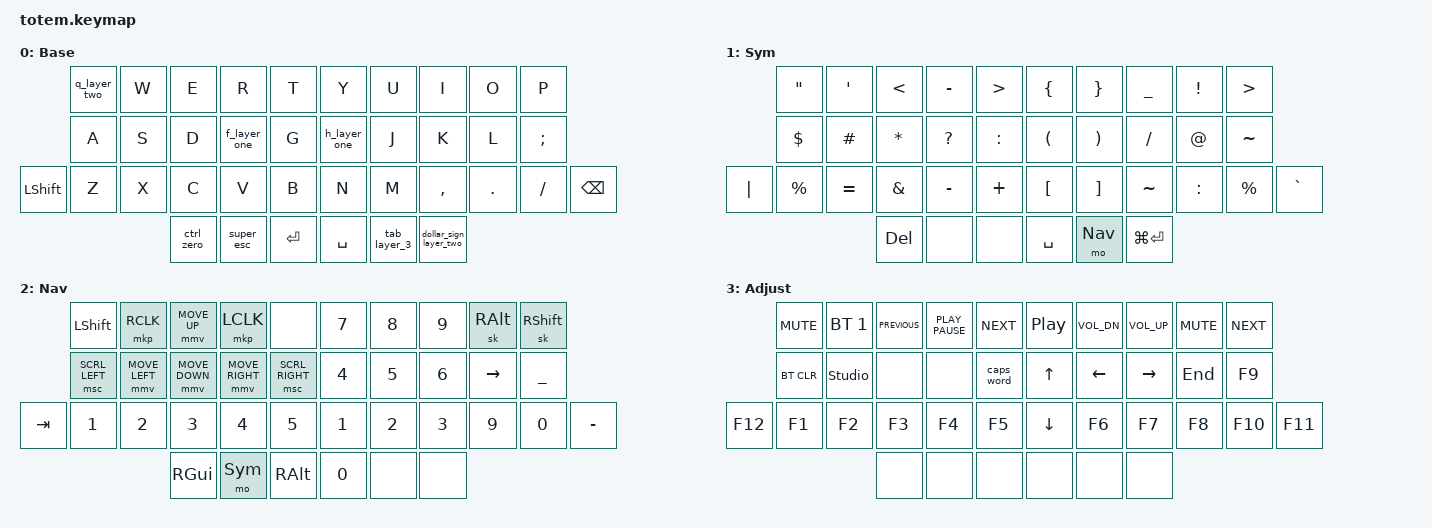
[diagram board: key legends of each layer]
//
//                                                        ▀▀▀▀▀     ▀▀▀▀▀          ▀▀█▀▀
//                                                        ▄▀▀▀▄  ▄  ▄▀▀▀▄  ▄  ▄▀▀▀▄  █  ▄▀▀▀▄
//                                                        █   █  █  █   █  █  █   █  █  █   █
//                                                         ▀▀▀   █   ▀▀▀   █   ▀▀▀   ▀   ▀▀▀
//                                                               █      ▄▄▄█▄▄▄    █   █  
//                                                               ▀      █  █  █     █▄█
//                                                             ▀▀▀▀▀    █  █  █      ▀
//                                                                      ▀  ▀  ▀
//
// ▄▄▄▄▄▄▄▄▄▄▄▄▄▄▄▄▄▄▄▄▄▄▄▄▄▄▄▄▄▄▄▄▄▄▄▄▄▄▄▄▄▄▄▄▄▄▄▄▄▄▄▄▄▄▄▄▄▄▄▄▄▄▄▄▄▄▄▄▄▄▄▄▄▄▄▄▄▄▄▄▄▄▄▄▄▄▄▄▄▄▄▄▄▄▄▄▄▄▄▄▄▄▄▄▄▄▄▄▄▄▄▄▄▄▄▄▄▄▄▄▄▄▄▄▄▄▄▄▄▄▄▄▄▄▄▄▄▄▄▄▄▄▄▄▄▄▄▄▄

#include <behaviors.dtsi>
#include <dt-bindings/zmk/bt.h>
#include <dt-bindings/zmk/keys.h>
#include <dt-bindings/zmk/pointing.h>

#define Base            0
#define Sym             1
#define Nav             2
#define Adjust          3

&sk {
    release-after-ms = <1000>;
    quick-release;
};

&caps_word { continue-list = <UNDERSCORE MINUS BSPC>; };

/ {
    conditional_layers { compatible = "zmk,conditional-layers"; };

    //               0   1   2   3   4                   5   6   7   8   9
    //               10  11  12  13  14                  15  16  17  18  19
    //           20  21  22  23  24  25                  26  27  28  29  30  31
    //                       32  33  34                  35  36  37

    behaviors {
        f_layer_one: f_layer_one {
            compatible = "zmk,behavior-tap-dance";
            label = "F_LAYER_ONE";
            #binding-cells = <0>;
            bindings = <&lt 1 F>;
        };

        h_layer_one: h_layer_one {
            compatible = "zmk,behavior-tap-dance";
            label = "H_LAYER_ONE";
            #binding-cells = <0>;
            bindings = <&lt 1 H>;
        };

        ctrl_zero: ctrl_zero {
            compatible = "zmk,behavior-tap-dance";
            label = "CTRL_ZERO";
            #binding-cells = <0>;
            bindings = <&mt LCTRL N0>;
        };

        dollar_sign_layer_two: dollar_sign_layer_two {
            compatible = "zmk,behavior-tap-dance";
            label = "DOLLAR_SIGN_LAYER_TWO";
            #binding-cells = <0>;
            bindings = <&mt LEFT_ALT LS(NUMBER_4)>;
        };

        q_layer_num: q_layer_num {
            compatible = "zmk,behavior-tap-dance";
            label = "Q_LAYER_NUM";
            #binding-cells = <0>;
            bindings = <&lt 2 Q>;
        };

        tab_layer_3: tab_layer_3 {
            compatible = "zmk,behavior-tap-dance";
            label = "TAB_LAYER_3";
            #binding-cells = <0>;
            bindings = <&lt 3 TAB>;
        };

        q_layer_two: q_layer_two {
            compatible = "zmk,behavior-tap-dance";
            label = "Q_LAYER_TWO";
            #binding-cells = <0>;
            bindings = <&lt 2 Q>;
        };

        super_esc: super_esc {
            compatible = "zmk,behavior-tap-dance";
            label = "SUPER_ESC";
            #binding-cells = <0>;
            bindings = <&mt LGUI ESC>;
        };
    };

    keymap {
        compatible = "zmk,keymap";

        // Staandard QWERTY layout with layers for Symbols, Navigation, and Adjust functions
        // left thumb switches to symbol layer, right thumb switches to navigation layer
        // Edge keys are Esc and single quote

        Base {
            label = "Base";
            bindings = <
                &q_layer_two  &kp W  &kp E       &kp R         &kp T         &kp Y         &kp U         &kp I                   &kp O    &kp P
                &kp A         &kp S  &kp D       &f_layer_one  &kp G         &h_layer_one  &kp J         &kp K                   &kp L    &kp SEMI
&kp LEFT_SHIFT  &kp Z         &kp X  &kp C       &kp V         &kp B         &kp N         &kp M         &kp COMMA               &kp DOT  &kp SLASH  &kp BACKSPACE
                                     &ctrl_zero  &super_esc    &kp RETURN    &kp SPACE     &tab_layer_3  &dollar_sign_layer_two
            >;
        };

        // Symbol layer. First row has brackets and comparison operators
        // Home row has shift, alt, gui, ctrl, equal, tilde, and scroll up/down (a little nav spillover)
        // Central columns have &, @, =, ~, = and ^
        // Bottom row has tab, hash, pipe, star, minus, plus, caret, backslash, dollar, exclamaion, percent, grave

        Sym {
            label = "Sym";
            bindings = <
          &kp DOUBLE_QUOTES  &kp SINGLE_QUOTE  &kp LT     &kp MINUS     &kp GREATER_THAN    &kp LEFT_BRACE        &kp RIGHT_BRACE        &kp UNDER    &kp EXCL   &kp GT
          &kp DOLLAR         &kp HASH          &kp ASTRK  &kp QUESTION  &kp COLON           &kp LEFT_PARENTHESIS  &kp RIGHT_PARENTHESIS  &kp SLASH    &kp AT     &kp TILDE
&kp PIPE  &kp PERCENT        &kp EQUAL         &kp AMPS   &kp MINUS     &kp PLUS            &kp LEFT_BRACKET      &kp RIGHT_BRACKET      &kp TILDE    &kp COLON  &kp PRCNT  &kp GRAVE
                                               &kp DEL    &none         &none               &kp SPACE             &mo Nav                &kp LG(RET)
            >;
        };

        // Navigation layer. Arrow keys on home row, mouse movement and clicking/scrolling on the left hand
        // Underscore lives here to be shiftable from the symbol layer
        // Extra modifiers on the top right row, and number pad on the bottom row

        Nav {
            label = "Nav";
            bindings = <
         &kp LSHFT       &mkp RCLK       &mmv MOVE_UP    &mkp LCLK        &none              &kp NUMBER_7  &kp NUMBER_8  &kp NUMBER_9  &sk RALT   &sk RSHFT
         &msc SCRL_LEFT  &mmv MOVE_LEFT  &mmv MOVE_DOWN  &mmv MOVE_RIGHT  &msc SCRL_RIGHT    &kp NUMBER_4  &kp NUMBER_5  &kp NUMBER_6  &kp RIGHT  &kp UNDER
&kp TAB  &kp N1          &kp N2          &kp N3          &kp N4           &kp N5             &kp NUMBER_1  &kp NUMBER_2  &kp NUMBER_3  &kp N9     &kp N0     &kp MINUS
                                         &kp RGUI        &mo Sym          &kp RALT           &kp NUMBER_0  &none         &none
            >;
        };

        // Adjust layer. Activated when both Symbol and Navigation layers are active
        // Should have media controls on the top row and Bluetooth/power controls on the left

        Adjust {
            label = "Adjust";
            bindings = <
         &kp K_MUTE  &bt BT_SEL 1    &kp K_PREVIOUS  &kp K_PLAY_PAUSE  &kp K_NEXT    &kp C_PP      &kp C_VOL_DN  &kp C_VOL_UP  &kp C_MUTE  &kp C_NEXT
         &bt BT_CLR  &studio_unlock  &none           &none             &caps_word    &kp UP_ARROW  &kp LEFT      &kp RIGHT     &kp END     &kp F9
&kp F12  &kp F1      &kp F2          &kp F3          &kp F4            &kp F5        &kp DOWN      &kp F6        &kp F7        &kp F8      &kp F10     &kp F11
                                     &none           &none             &none         &none         &none         &none
            >;
        };
    };
};
